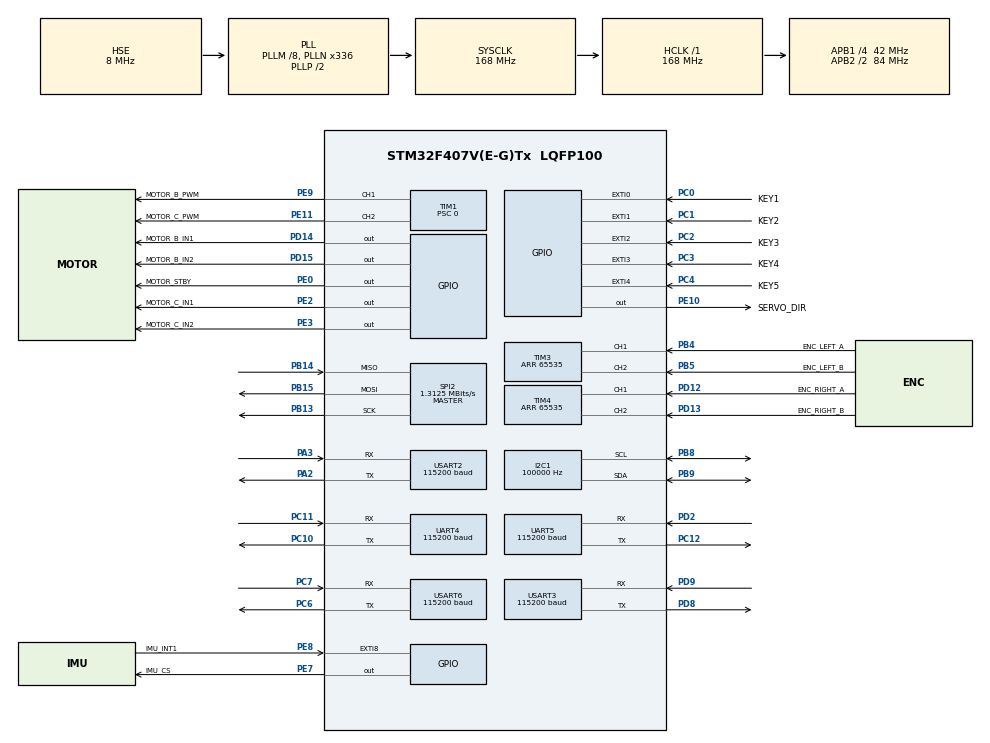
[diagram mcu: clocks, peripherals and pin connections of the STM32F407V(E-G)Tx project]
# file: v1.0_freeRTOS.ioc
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Dma.Request0=UART5_RX
Dma.Request1=UART5_TX
Dma.Request2=USART3_RX
Dma.Request3=USART2_RX
Dma.Request4=USART2_TX
Dma.Request5=SPI2_RX
Dma.Request6=SPI2_TX
Dma.Request7=USART6_RX
Dma.Request8=USART6_TX
Dma.Request9=UART4_RX
Dma.SPI2_RX.5.Direction=DMA_PERIPH_TO_MEMORY
Dma.SPI2_RX.5.FIFOMode=DMA_FIFOMODE_DISABLE
Dma.SPI2_RX.5.Instance=DMA1_Stream3
Dma.SPI2_RX.5.MemDataAlignment=DMA_MDATAALIGN_BYTE
Dma.SPI2_RX.5.MemInc=DMA_MINC_ENABLE
Dma.SPI2_RX.5.Mode=DMA_NORMAL
Dma.SPI2_RX.5.PeriphDataAlignment=DMA_PDATAALIGN_BYTE
Dma.SPI2_RX.5.PeriphInc=DMA_PINC_DISABLE
Dma.SPI2_RX.5.Priority=DMA_PRIORITY_HIGH
Dma.SPI2_TX.6.Direction=DMA_MEMORY_TO_PERIPH
Dma.SPI2_TX.6.FIFOMode=DMA_FIFOMODE_DISABLE
Dma.SPI2_TX.6.Instance=DMA1_Stream4
Dma.SPI2_TX.6.MemDataAlignment=DMA_MDATAALIGN_BYTE
Dma.SPI2_TX.6.MemInc=DMA_MINC_ENABLE
Dma.SPI2_TX.6.Mode=DMA_NORMAL
Dma.SPI2_TX.6.PeriphDataAlignment=DMA_PDATAALIGN_BYTE
Dma.SPI2_TX.6.PeriphInc=DMA_PINC_DISABLE
Dma.SPI2_TX.6.Priority=DMA_PRIORITY_HIGH
Dma.UART4_RX.9.Direction=DMA_PERIPH_TO_MEMORY
Dma.UART4_RX.9.FIFOMode=DMA_FIFOMODE_DISABLE
Dma.UART4_RX.9.Instance=DMA1_Stream2
Dma.UART4_RX.9.MemDataAlignment=DMA_MDATAALIGN_BYTE
Dma.UART4_RX.9.MemInc=DMA_MINC_ENABLE
Dma.UART4_RX.9.Mode=DMA_CIRCULAR
Dma.UART4_RX.9.PeriphDataAlignment=DMA_PDATAALIGN_BYTE
Dma.UART4_RX.9.PeriphInc=DMA_PINC_DISABLE
Dma.UART4_RX.9.Priority=DMA_PRIORITY_MEDIUM
Dma.UART5_RX.0.Direction=DMA_PERIPH_TO_MEMORY
Dma.UART5_RX.0.FIFOMode=DMA_FIFOMODE_DISABLE
Dma.UART5_RX.0.Instance=DMA1_Stream0
Dma.UART5_RX.0.MemDataAlignment=DMA_MDATAALIGN_BYTE
Dma.UART5_RX.0.MemInc=DMA_MINC_ENABLE
Dma.UART5_RX.0.Mode=DMA_NORMAL
Dma.UART5_RX.0.PeriphDataAlignment=DMA_PDATAALIGN_BYTE
Dma.UART5_RX.0.PeriphInc=DMA_PINC_DISABLE
Dma.UART5_RX.0.Priority=DMA_PRIORITY_LOW
Dma.UART5_TX.1.Direction=DMA_MEMORY_TO_PERIPH
Dma.UART5_TX.1.FIFOMode=DMA_FIFOMODE_DISABLE
Dma.UART5_TX.1.Instance=DMA1_Stream7
Dma.UART5_TX.1.MemDataAlignment=DMA_MDATAALIGN_BYTE
Dma.UART5_TX.1.MemInc=DMA_MINC_ENABLE
Dma.UART5_TX.1.Mode=DMA_NORMAL
Dma.UART5_TX.1.PeriphDataAlignment=DMA_PDATAALIGN_BYTE
Dma.UART5_TX.1.PeriphInc=DMA_PINC_DISABLE
Dma.UART5_TX.1.Priority=DMA_PRIORITY_LOW
Dma.USART2_RX.3.Direction=DMA_PERIPH_TO_MEMORY
Dma.USART2_RX.3.FIFOMode=DMA_FIFOMODE_DISABLE
Dma.USART2_RX.3.Instance=DMA1_Stream5
Dma.USART2_RX.3.MemDataAlignment=DMA_MDATAALIGN_BYTE
Dma.USART2_RX.3.MemInc=DMA_MINC_ENABLE
Dma.USART2_RX.3.Mode=DMA_CIRCULAR
Dma.USART2_RX.3.PeriphDataAlignment=DMA_PDATAALIGN_BYTE
Dma.USART2_RX.3.PeriphInc=DMA_PINC_DISABLE
Dma.USART2_RX.3.Priority=DMA_PRIORITY_HIGH
Dma.USART2_TX.4.Direction=DMA_MEMORY_TO_PERIPH
Dma.USART2_TX.4.FIFOMode=DMA_FIFOMODE_DISABLE
Dma.USART2_TX.4.Instance=DMA1_Stream6
Dma.USART2_TX.4.MemDataAlignment=DMA_MDATAALIGN_BYTE
Dma.USART2_TX.4.MemInc=DMA_MINC_ENABLE
Dma.USART2_TX.4.Mode=DMA_NORMAL
Dma.USART2_TX.4.PeriphDataAlignment=DMA_PDATAALIGN_BYTE
Dma.USART2_TX.4.PeriphInc=DMA_PINC_DISABLE
Dma.USART2_TX.4.Priority=DMA_PRIORITY_MEDIUM
Dma.USART3_RX.2.Direction=DMA_PERIPH_TO_MEMORY
Dma.USART3_RX.2.FIFOMode=DMA_FIFOMODE_DISABLE
Dma.USART3_RX.2.Instance=DMA1_Stream1
Dma.USART3_RX.2.MemDataAlignment=DMA_MDATAALIGN_BYTE
Dma.USART3_RX.2.MemInc=DMA_MINC_ENABLE
Dma.USART3_RX.2.Mode=DMA_CIRCULAR
Dma.USART3_RX.2.PeriphDataAlignment=DMA_PDATAALIGN_BYTE
Dma.USART3_RX.2.PeriphInc=DMA_PINC_DISABLE
Dma.USART3_RX.2.Priority=DMA_PRIORITY_VERY_HIGH
Dma.USART6_RX.7.Direction=DMA_PERIPH_TO_MEMORY
Dma.USART6_RX.7.FIFOMode=DMA_FIFOMODE_DISABLE
Dma.USART6_RX.7.Instance=DMA2_Stream1
Dma.USART6_RX.7.MemDataAlignment=DMA_MDATAALIGN_BYTE
Dma.USART6_RX.7.MemInc=DMA_MINC_ENABLE
Dma.USART6_RX.7.Mode=DMA_CIRCULAR
Dma.USART6_RX.7.PeriphDataAlignment=DMA_PDATAALIGN_BYTE
Dma.USART6_RX.7.PeriphInc=DMA_PINC_DISABLE
Dma.USART6_RX.7.Priority=DMA_PRIORITY_HIGH
Dma.USART6_TX.8.Direction=DMA_MEMORY_TO_PERIPH
Dma.USART6_TX.8.FIFOMode=DMA_FIFOMODE_DISABLE
Dma.USART6_TX.8.Instance=DMA2_Stream6
Dma.USART6_TX.8.MemDataAlignment=DMA_MDATAALIGN_BYTE
Dma.USART6_TX.8.MemInc=DMA_MINC_ENABLE
Dma.USART6_TX.8.Mode=DMA_NORMAL
Dma.USART6_TX.8.PeriphDataAlignment=DMA_PDATAALIGN_BYTE
Dma.USART6_TX.8.PeriphInc=DMA_PINC_DISABLE
Dma.USART6_TX.8.Priority=DMA_PRIORITY_HIGH
FREERTOS.Tasks01=defaultTask,24,512,StartDefaultTask,Default,NULL,Dynamic,NULL,NULL
FREERTOS.configTOTAL_HEAP_SIZE=32768
I2C1.ClockSpeed=100000
Mcu.Family=STM32F4
Mcu.Name=STM32F407V(E-G)Tx
Mcu.Package=LQFP100
NVIC.DMA1_Stream0_IRQn=true\:5\:0\:false\:false\:true\:true\:true\:true\:true
NVIC.DMA1_Stream1_IRQn=true\:5\:0\:false\:false\:true\:true\:true\:true\:true
NVIC.DMA1_Stream2_IRQn=true\:5\:0\:false\:false\:true\:true\:true\:true\:true
NVIC.DMA1_Stream3_IRQn=true\:5\:0\:false\:false\:true\:true\:true\:true\:true
NVIC.DMA1_Stream4_IRQn=true\:5\:0\:false\:false\:true\:true\:true\:true\:true
NVIC.DMA1_Stream5_IRQn=true\:5\:0\:false\:false\:true\:true\:true\:true\:true
NVIC.DMA1_Stream6_IRQn=true\:5\:0\:false\:false\:true\:true\:true\:true\:true
NVIC.DMA1_Stream7_IRQn=true\:5\:0\:false\:false\:true\:true\:true\:true\:true
NVIC.DMA2_Stream1_IRQn=true\:5\:0\:false\:false\:true\:true\:true\:true\:true
NVIC.DMA2_Stream6_IRQn=true\:5\:0\:false\:false\:true\:true\:true\:true\:true
NVIC.EXTI0_IRQn=true\:5\:0\:false\:false\:true\:true\:true\:true\:true
NVIC.EXTI1_IRQn=true\:5\:0\:false\:false\:true\:true\:true\:true\:true
NVIC.EXTI2_IRQn=true\:5\:0\:false\:false\:true\:true\:true\:true\:true
NVIC.EXTI3_IRQn=true\:5\:0\:false\:false\:true\:true\:true\:true\:true
NVIC.EXTI4_IRQn=true\:5\:0\:false\:false\:true\:true\:true\:true\:true
NVIC.EXTI9_5_IRQn=true\:5\:0\:false\:false\:true\:true\:true\:true\:true
NVIC.PriorityGroup=NVIC_PRIORITYGROUP_4
NVIC.TIM6_DAC_IRQn=true\:15\:0\:false\:false\:true\:false\:false\:true\:true
NVIC.TimeBase=TIM6_DAC_IRQn
NVIC.TimeBaseIP=TIM6
NVIC.UART4_IRQn=true\:5\:0\:false\:false\:true\:true\:true\:true\:true
NVIC.UART5_IRQn=true\:5\:0\:false\:false\:true\:true\:true\:true\:true
NVIC.USART2_IRQn=true\:5\:0\:false\:false\:true\:true\:true\:true\:true
NVIC.USART3_IRQn=true\:5\:0\:false\:false\:true\:true\:true\:true\:true
NVIC.USART6_IRQn=true\:5\:0\:false\:false\:true\:true\:true\:true\:true
PA1.GPIO_Label=TB6612_ADC
PA1.Signal=ADCx_IN1
PA13.Mode=Serial_Wire
PA13.Signal=SYS_JTMS-SWDIO
PA14.Mode=Serial_Wire
PA14.Signal=SYS_JTCK-SWCLK
PA2.Mode=Asynchronous
PA2.Signal=USART2_TX
PA3.Mode=Asynchronous
PA3.Signal=USART2_RX
PB13.Mode=Full_Duplex_Master
PB13.Signal=SPI2_SCK
PB14.Mode=Full_Duplex_Master
PB14.Signal=SPI2_MISO
PB15.Mode=Full_Duplex_Master
PB15.Signal=SPI2_MOSI
PB4.GPIO_Label=ENC_LEFT_A
PB4.GPIO_PuPd=GPIO_PULLUP
PB4.Signal=S_TIM3_CH1
PB5.GPIO_Label=ENC_LEFT_B
PB5.GPIO_PuPd=GPIO_PULLUP
PB5.Signal=S_TIM3_CH2
PB8.Mode=I2C
PB8.Signal=I2C1_SCL
PB9.Mode=I2C
PB9.Signal=I2C1_SDA
PC0.GPIO_Label=KEY1
PC0.GPIO_ModeDefaultEXTI=GPIO_MODE_IT_FALLING
PC0.GPIO_PuPd=GPIO_PULLUP
PC0.Signal=GPXTI0
PC1.GPIO_Label=KEY2
PC1.GPIO_ModeDefaultEXTI=GPIO_MODE_IT_FALLING
PC1.GPIO_PuPd=GPIO_PULLUP
PC1.Signal=GPXTI1
PC10.Mode=Asynchronous
PC10.Signal=UART4_TX
PC11.Mode=Asynchronous
PC11.Signal=UART4_RX
PC12.Mode=Asynchronous
PC12.Signal=UART5_TX
PC2.GPIO_Label=KEY3
PC2.GPIO_ModeDefaultEXTI=GPIO_MODE_IT_FALLING
PC2.GPIO_PuPd=GPIO_PULLUP
PC2.Signal=GPXTI2
PC3.GPIO_Label=KEY4
PC3.GPIO_ModeDefaultEXTI=GPIO_MODE_IT_FALLING
PC3.GPIO_PuPd=GPIO_PULLUP
PC3.Signal=GPXTI3
PC4.GPIO_Label=KEY5
PC4.GPIO_ModeDefaultEXTI=GPIO_MODE_IT_FALLING
PC4.GPIO_PuPd=GPIO_PULLUP
PC4.Signal=GPXTI4
PC6.Mode=Asynchronous
PC6.Signal=USART6_TX
PC7.Mode=Asynchronous
PC7.Signal=USART6_RX
PD12.GPIO_Label=ENC_RIGHT_A
PD12.GPIO_PuPd=GPIO_PULLUP
PD12.Signal=S_TIM4_CH1
PD13.GPIO_Label=ENC_RIGHT_B
PD13.GPIO_PuPd=GPIO_PULLUP
PD13.Signal=S_TIM4_CH2
PD14.GPIO_Label=MOTOR_B_IN1
PD14.GPIO_PuPd=GPIO_NOPULL
PD14.GPIO_Speed=GPIO_SPEED_FREQ_LOW
PD14.PinState=GPIO_PIN_RESET
PD14.Signal=GPIO_Output
PD15.GPIO_Label=MOTOR_B_IN2
PD15.GPIO_PuPd=GPIO_NOPULL
PD15.GPIO_Speed=GPIO_SPEED_FREQ_LOW
PD15.PinState=GPIO_PIN_RESET
PD15.Signal=GPIO_Output
PD2.Mode=Asynchronous
PD2.Signal=UART5_RX
PD8.Mode=Asynchronous
PD8.Signal=USART3_TX
PD9.Mode=Asynchronous
PD9.Signal=USART3_RX
PE0.GPIO_Label=MOTOR_STBY
PE0.GPIO_PuPd=GPIO_PULLDOWN
PE0.GPIO_Speed=GPIO_SPEED_FREQ_LOW
PE0.PinState=GPIO_PIN_RESET
PE0.Signal=GPIO_Output
PE10.GPIO_Label=SERVO_DIR
PE10.GPIO_PuPd=GPIO_NOPULL
PE10.GPIO_Speed=GPIO_SPEED_FREQ_LOW
PE10.PinState=GPIO_PIN_RESET
PE10.Signal=GPIO_Output
PE11.GPIO_Label=MOTOR_C_PWM
PE11.Signal=S_TIM1_CH2
PE2.GPIO_Label=MOTOR_C_IN1
PE2.GPIO_PuPd=GPIO_NOPULL
PE2.GPIO_Speed=GPIO_SPEED_FREQ_LOW
PE2.PinState=GPIO_PIN_RESET
PE2.Signal=GPIO_Output
PE3.GPIO_Label=MOTOR_C_IN2
PE3.GPIO_PuPd=GPIO_NOPULL
PE3.GPIO_Speed=GPIO_SPEED_FREQ_LOW
PE3.PinState=GPIO_PIN_RESET
PE3.Signal=GPIO_Output
PE7.GPIO_Label=IMU_CS
PE7.GPIO_PuPd=GPIO_PULLUP
PE7.GPIO_Speed=GPIO_SPEED_FREQ_HIGH
PE7.PinState=GPIO_PIN_SET
PE7.Signal=GPIO_Output
PE8.GPIO_Label=IMU_INT1
PE8.GPIO_ModeDefaultEXTI=GPIO_MODE_IT_RISING
PE8.GPIO_PuPd=GPIO_NOPULL
PE8.Signal=GPXTI8
PE9.GPIO_Label=MOTOR_B_PWM
PE9.Signal=S_TIM1_CH1
PH0-OSC_IN.Mode=HSE-External-Oscillator
PH0-OSC_IN.Signal=RCC_OSC_IN
PH1-OSC_OUT.Mode=HSE-External-Oscillator
PH1-OSC_OUT.Signal=RCC_OSC_OUT
ProjectManager.HeapSize=0x400
ProjectManager.StackSize=0x800
ProjectManager.TargetToolchain=CMake
RCC.48MHZClocksFreq_Value=48000000
RCC.AHBFreq_Value=168000000
RCC.APB1CLKDivider=RCC_HCLK_DIV4
RCC.APB1Freq_Value=42000000
RCC.APB1TimFreq_Value=84000000
RCC.APB2CLKDivider=RCC_HCLK_DIV2
RCC.APB2Freq_Value=84000000
RCC.APB2TimFreq_Value=168000000
RCC.CortexFreq_Value=168000000
RCC.HCLKFreq_Value=168000000
RCC.HSE_VALUE=8000000
RCC.HSI_VALUE=16000000
RCC.LSE_VALUE=32768
RCC.PLLM=8
RCC.PLLN=336
RCC.PLLQ=7
RCC.PLLSourceVirtual=RCC_PLLSOURCE_HSE
RCC.SYSCLKFreq_VALUE=168000000
RCC.SYSCLKSource=RCC_SYSCLKSOURCE_PLLCLK
RCC.VCOOutputFreq_Value=336000000
SH.S_TIM1_CH1.0=TIM1_CH1,PWM Generation1 CH1
SH.S_TIM1_CH2.0=TIM1_CH2,PWM Generation2 CH2
SH.S_TIM3_CH1.0=TIM3_CH1,Encoder_Interface
SH.S_TIM3_CH2.0=TIM3_CH2,Encoder_Interface
SH.S_TIM4_CH1.0=TIM4_CH1,Encoder_Interface
SH.S_TIM4_CH2.0=TIM4_CH2,Encoder_Interface
SPI2.BaudRatePrescaler=SPI_BAUDRATEPRESCALER_32
SPI2.CLKPhase=SPI_PHASE_1EDGE
SPI2.CLKPolarity=SPI_POLARITY_LOW
SPI2.CalculateBaudRate=1.3125 MBits/s
SPI2.Direction=SPI_DIRECTION_2LINES
SPI2.Mode=SPI_MODE_MASTER
SPI2.VirtualType=VM_MASTER
TIM1.AutoReloadPreload=TIM_AUTORELOAD_PRELOAD_ENABLE
TIM1.Channel-PWM\ Generation1\ CH1=TIM_CHANNEL_1
TIM1.Channel-PWM\ Generation2\ CH2=TIM_CHANNEL_2
TIM1.Period=8399
TIM1.Prescaler=0
TIM3.EncoderMode=TIM_ENCODERMODE_TI12
TIM3.IC1Filter=8
TIM3.IC2Filter=8
TIM3.Period=65535
TIM4.EncoderMode=TIM_ENCODERMODE_TI12
TIM4.IC1Filter=8
TIM4.IC2Filter=8
TIM4.Period=65535
UART4.BaudRate=115200
UART4.VirtualMode=Asynchronous
UART5.BaudRate=115200
UART5.VirtualMode=Asynchronous
USART2.BaudRate=115200
USART2.VirtualMode=VM_ASYNC
USART3.BaudRate=115200
USART3.VirtualMode=VM_ASYNC
USART6.BaudRate=115200
USART6.VirtualMode=VM_ASYNC
VP_FREERTOS_VS_CMSIS_V2.Mode=CMSIS_V2
VP_SYS_VS_tim6.Mode=TIM6
VP_TIM1_VS_ClockSourceINT.Mode=Internal
board=custom

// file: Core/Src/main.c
/* USER CODE BEGIN Header */
/**
  ******************************************************************************
  * @file           : main.c
  * @brief          : Main program body
  ******************************************************************************
  * @attention
  *
  * Copyright (c) 2026 STMicroelectronics.
  * All rights reserved.
  *
  * This software is licensed under terms that can be found in the LICENSE file
  * in the root directory of this software component.
  * If no LICENSE file comes with this software, it is provided AS-IS.
  *
  ******************************************************************************
  */
/* USER CODE END Header */
#include "main.h"
#include "cmsis_os.h"
#include "dma.h"
#include "i2c.h"
#include "spi.h"
#include "tim.h"
#include "usart.h"
#include "gpio.h"

/* USER CODE BEGIN Includes */
#include "app/uart_debug.h"
#include <stdio.h>
/* USER CODE END Includes */

void SystemClock_Config(void);
void MX_FREERTOS_Init(void);

int main(void)
{

  /* MCU Configuration--------------------------------------------------------*/

  /* Reset of all peripherals, Initializes the Flash interface and the Systick. */
  HAL_Init();

  /* Configure the system clock */
  SystemClock_Config();

  /* Initialize all configured peripherals */
  MX_GPIO_Init();
  MX_DMA_Init();
  MX_I2C1_Init();
  MX_SPI2_Init();
  MX_TIM1_Init();
  MX_TIM3_Init();
  MX_TIM4_Init();
  MX_UART4_Init();
  MX_UART5_Init();
  MX_USART2_UART_Init();
  MX_USART3_UART_Init();
  MX_USART6_UART_Init();
  /* USER CODE BEGIN 2 */
  UartDebug_Init();
  printf("[UART5] Debug UART initialized @115200, PC12(TX) PD2(RX)\r\n");
  printf("[SYSTEM] Entering FreeRTOS scheduler...\r\n");
  /* USER CODE END 2 */

  /* Init scheduler */
  osKernelInitialize();  /* Call init function for freertos objects (in cmsis_os2.c) */
  MX_FREERTOS_Init();

  /* Start scheduler */
  osKernelStart();

  /* We should never get here as control is now taken by the scheduler */

  /* Infinite loop */
  while (1)
  {

  }
}

void SystemClock_Config(void)
{
  RCC_OscInitTypeDef RCC_OscInitStruct = {0};
  RCC_ClkInitTypeDef RCC_ClkInitStruct = {0};

  /** Configure the main internal regulator output voltage
  */
  __HAL_RCC_PWR_CLK_ENABLE();
  __HAL_PWR_VOLTAGESCALING_CONFIG(PWR_REGULATOR_VOLTAGE_SCALE1);

  /** Initializes the RCC Oscillators according to the specified parameters
  * in the RCC_OscInitTypeDef structure.
  */
  RCC_OscInitStruct.OscillatorType = RCC_OSCILLATORTYPE_HSE;
  RCC_OscInitStruct.HSEState = RCC_HSE_ON;
  RCC_OscInitStruct.PLL.PLLState = RCC_PLL_ON;
  RCC_OscInitStruct.PLL.PLLSource = RCC_PLLSOURCE_HSE;
  RCC_OscInitStruct.PLL.PLLM = 8;
  RCC_OscInitStruct.PLL.PLLN = 336;
  RCC_OscInitStruct.PLL.PLLP = RCC_PLLP_DIV2;
  RCC_OscInitStruct.PLL.PLLQ = 7;
  if (HAL_RCC_OscConfig(&RCC_OscInitStruct) != HAL_OK)
  {
    Error_Handler();
  }

  /** Initializes the CPU, AHB and APB buses clocks
  */
  RCC_ClkInitStruct.ClockType = RCC_CLOCKTYPE_HCLK|RCC_CLOCKTYPE_SYSCLK
                              |RCC_CLOCKTYPE_PCLK1|RCC_CLOCKTYPE_PCLK2;
  RCC_ClkInitStruct.SYSCLKSource = RCC_SYSCLKSOURCE_PLLCLK;
  RCC_ClkInitStruct.AHBCLKDivider = RCC_SYSCLK_DIV1;
  RCC_ClkInitStruct.APB1CLKDivider = RCC_HCLK_DIV4;
  RCC_ClkInitStruct.APB2CLKDivider = RCC_HCLK_DIV2;

  if (HAL_RCC_ClockConfig(&RCC_ClkInitStruct, FLASH_LATENCY_5) != HAL_OK)
  {
    Error_Handler();
  }
}

void HAL_TIM_PeriodElapsedCallback(TIM_HandleTypeDef *htim)
{
  if (htim->Instance == TIM6)
  {
    HAL_IncTick();
  }
}

void Error_Handler(void)
{
  __disable_irq();
  while (1)
  {
  }
}

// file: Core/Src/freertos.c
/* USER CODE BEGIN Header */
/**
  ******************************************************************************
  * File Name          : freertos.c
  * Description        : Code for freertos applications
  ******************************************************************************
  * @attention
  *
  * Copyright (c) 2026 STMicroelectronics.
  * All rights reserved.
  *
  * This software is licensed under terms that can be found in the LICENSE file
  * in the root directory of this software component.
  * If no LICENSE file comes with this software, it is provided AS-IS.
  *
  ******************************************************************************
  */
/* USER CODE END Header */

#include "FreeRTOS.h"
#include "task.h"
#include "main.h"
#include "cmsis_os.h"

/* USER CODE BEGIN Includes */
#include "track_control_app.h"
#include "usart.h"
#include "ir_calibration.h"
#include "ir_uart_sensor.h"
#include "motor.h"
#include "encoder.h"
#include "config.h"
#include "platform_time.h"
#include "motor_static_friction_test.h"
#include <stdio.h>
/* USER CODE END Includes */

/* USER CODE BEGIN PD */

/* ============================================================================
 * 测试模式选择开关
 * ============================================================================
 *
 * 取消注释以下其中一个宏来选择运行模式：
 *
 * 1. TEST_MODE_IR_CALIBRATION        - IR传感器校准模式
 *    功能：白平衡校准 → 黑线阈值校准 → 实时监控验证
 *    适用场景：首次测试、光照变化后、更换传感器/赛道
 *    操作步骤：见下方详细说明
 *
 * 2. TEST_MODE_TRACK_CONTROL         - 完整循迹控制模式（Pure Pursuit）
 *    功能：EKF状态估计 + 轨迹规划 + Pure Pursuit循迹
 *    前提条件：IR传感器已校准、PID参数已调优
 *
 * 3. TEST_MODE_PLAYGROUND_TRACK      - 操场型循迹（第2/4题比赛模式）
 *    功能：分段自适应循迹，任务2（绕圈）或任务4（A→B直道）
 *    前提条件：IR传感器已校准
 *
 * 4. TEST_MODE_STATIC_FRICTION       - 静摩擦参数标定模式
 *    功能：通过串口手动发送PWM值，标定FF_K_STATIC参数
 *    适用场景：标定前馈控制的静摩擦补偿参数
 *
 * 注意：同时只能定义一个测试模式
 * ============================================================================ */

// #define TEST_MODE_IR_CALIBRATION        /* ← IR校准模式 */
// #define TEST_MODE_TRACK_CONTROL         /* ← Pure Pursuit循迹模式 */
// #define TEST_MODE_PLAYGROUND_TRACK      /* ← 操场型循迹（第2/4题） */
#define TEST_MODE_STATIC_FRICTION          /* ← 当前激活：静摩擦标定 */

#define TARGET_LAPS  3U   /* 比赛圈数，可按需修改 (1-5) */
/* USER CODE END PD */

/* Definitions for defaultTask */
osThreadId_t defaultTaskHandle;
const osThreadAttr_t defaultTask_attributes = {
  .name = "defaultTask",
  .stack_size = 768 * 4,  /* Increased from 512*4 (2048) to 768*4 (3072) bytes for EKF safety */
  .priority = (osPriority_t) osPriorityNormal,
};

void StartDefaultTask(void *argument);

void MX_FREERTOS_Init(void); /* (MISRA C 2004 rule 8.1) */

void MX_FREERTOS_Init(void) {

  /* Create the thread(s) */
  /* creation of defaultTask */
  defaultTaskHandle = osThreadNew(StartDefaultTask, NULL, &defaultTask_attributes);

}

/* USER CODE BEGIN Header_StartDefaultTask */
/**
  * @brief  Function implementing the defaultTask thread.
  * @param  argument: Not used
  * @retval None
  *
  * @note   测试模式说明：
  *         - TEST_MODE_IR_CALIBRATION: IR传感器校准（不驱动电机）
  *         - TEST_MODE_TRACK_CONTROL:  完整循迹控制
  */
/* USER CODE END Header_StartDefaultTask */
void StartDefaultTask(void *argument)
{
  /* USER CODE BEGIN StartDefaultTask */

#ifdef TEST_MODE_IR_CALIBRATION
  /* ========================================================================
   * IR传感器一步校准模式
   * ======================================================================== */
  printf("\r\n=== IR One-Step Calibration v1.2.2 ===\r\n");
  osDelay(100);

  /* 步骤1: 初始化必要硬件（不启动电机） */
  printf("[STEP 1/4] Init hardware...\r\n");
  osDelay(50);
  Motor_Init();
  Motor_Stop();  /* 确保电机停止 */
  Encoder_Init();
  PlatformTime_Init();

  printf("[INFO] Init IR sensor...\r\n");
  osDelay(50);
  IrUartSensor_Init();
  IrUartSensor_RequestAnalogMode();

  printf("[INFO] Warm-up 2 sec...\r\n");
  osDelay(50);
  osDelay(2000);

  /* 加载默认配置 */
  sd_config_reset_defaults();

  printf("[OK] Hardware ready\r\n");
  osDelay(100);

  /* 步骤2: 一步校准 */
  printf("\r\n[STEP 2/4] Calibration\r\n");
  osDelay(50);
  printf("Place robot: Ch3&4 on BLACK, others on WHITE\r\n");
  osDelay(50);
  printf("Layout: [0][1][2][3][4][5][6][7]\r\n");
  osDelay(50);
  printf("        W  W  W  B  B  W  W  W\r\n");
  osDelay(50);

  printf("Starting in 5 sec...\r\n");
  osDelay(1000);
  printf("4...\r\n");
  osDelay(1000);
  printf("3...\r\n");
  osDelay(1000);
  printf("2...\r\n");
  osDelay(1000);
  printf("1...\r\n");
  osDelay(1000);

  IrCalibration_OneStep();

  printf("Wait 3 sec...\r\n");
  osDelay(3000);

  /* 步骤3: 显示校准结果 */
  printf("\r\n[STEP 3/4] Results\r\n");
  osDelay(100);

  IrCalibration_PrintConfig();

  printf("Wait 3 sec...\r\n");
  osDelay(3000);

  /* 步骤4: 实时监控验证 */
  printf("\r\n[STEP 4/4] Monitoring (60 sec)\r\n");
  osDelay(50);
  printf("Move robot left/right to check lateral_error sign\r\n");
  osDelay(50);
  printf("Right -> positive, Left -> negative\r\n");
  osDelay(50);

  IrCalibration_Monitor(60000, 1000);  /* 60秒监控，1秒间隔 */

  /* 完成 */
  printf("\r\n=== CALIBRATION COMPLETE ===\r\n");
  osDelay(100);
  printf("Next: Switch to TEST_MODE_TRACK_CONTROL\r\n");
  osDelay(100);

  printf("Restarting in 10 sec...\r\n");
  osDelay(10000);

  /* 无限循环：持续监控模式 */
  printf("Continuous monitoring...\r\n");
  osDelay(100);

  for (;;) {
      IrCalibration_Monitor(30000, 1000);  /* 每30秒一轮，1秒间隔 */
      osDelay(1000);
  }

#elif defined(TEST_MODE_TRACK_CONTROL)
  /* ========================================================================
   * 完整循迹控制模式
   * ======================================================================== */
  printf("\r\n");
  printf("╔════════════════════════════════════════════════════════════════╗\r\n");
  printf("║       Track Control Mode - STM32 Track Robot v1.2.1           ║\r\n");
  printf("╚════════════════════════════════════════════════════════════════╝\r\n");
  printf("\r\n");

  /* 使用操场路径 (Track Path) 而不是方形路径 (Square Path) */
  if (!TrackControlApp_Init(TARGET_LAPS)) {
      printf("[FATAL] TrackControlApp_Init failed — motors halted\r\n");
      for (;;) { osDelay(1000); }
  }

  /* Defensive: TrackControlApp_Init issues multiple printf calls after IR init;
   * HAL_UART_Transmit (UART5/printf) can momentarily clear RXNEIE on USART2.
   * Re-arm the interrupt now that all init is complete. */
  SET_BIT(huart2.Instance->CR1, USART_CR1_RXNEIE);

  printf("[TrackControlApp] Running — target laps: %u\r\n", (unsigned)TARGET_LAPS);

#if (INCLUDE_uxTaskGetStackHighWaterMark == 1)
  /* Report initial stack watermark for monitoring */
  UBaseType_t stack_watermark = uxTaskGetStackHighWaterMark(NULL);
  printf("[RTOS] defaultTask stack size: 3072 bytes, high-water mark: %u words (%u bytes free)\r\n",
         (unsigned)stack_watermark, (unsigned)(stack_watermark * 4));
#endif

  /* 500 Hz control loop (2 ms tick, assuming 1 kHz FreeRTOS tick rate) */
  uint32_t loop_counter = 0;
  for (;;)
  {
      TrackControlApp_RunFastCycle();
      osDelay(2);

#if (INCLUDE_uxTaskGetStackHighWaterMark == 1)
      /* Report stack usage every 10 seconds (5000 loops at 500Hz) */
      if (++loop_counter >= 5000U) {
          loop_counter = 0;
          stack_watermark = uxTaskGetStackHighWaterMark(NULL);
          printf("[RTOS] Stack high-water mark: %u words (%u bytes free, %u%% used)\r\n",
                 (unsigned)stack_watermark,
                 (unsigned)(stack_watermark * 4),
                 (unsigned)(100 - (stack_watermark * 400 / 3072)));
      }
#endif
  }

#elif defined(TEST_MODE_PLAYGROUND_TRACK)
  /* ========================================================================
   * 操场型循迹模式（第2/4题比赛）
   * ======================================================================== */
  #include "playground_track.h"

  printf("\r\n");
  printf("╔════════════════════════════════════════════════════════════════╗\r\n");
  printf("║     Playground Track Mode - STM32 Track Robot v1.4.0          ║\r\n");
  printf("╚════════════════════════════════════════════════════════════════╝\r\n");
  printf("\r\n");

  /* Initialize playground track control
   * Change PLAYGROUND_TASK_LAP to PLAYGROUND_TASK_AB_STRAIGHT for Task 4 */
  if (!PlaygroundTrack_Init(PLAYGROUND_TASK_LAP)) {
      printf("[FATAL] PlaygroundTrack_Init failed — motors halted\r\n");
      for (;;) { osDelay(1000); }
  }

  /* Re-arm USART2 RX interrupt after all printf calls */
  SET_BIT(huart2.Instance->CR1, USART_CR1_RXNEIE);

  printf("[PlaygroundTrack] Running Task 2 (Full Lap) mode\r\n");
  printf("[PlaygroundTrack] To switch to Task 4: change to PLAYGROUND_TASK_AB_STRAIGHT\r\n");

#if (INCLUDE_uxTaskGetStackHighWaterMark == 1)
  UBaseType_t stack_watermark = uxTaskGetStackHighWaterMark(NULL);
  printf("[RTOS] Stack size: 3072 bytes, watermark: %u words (%u bytes free)\r\n",
         (unsigned)stack_watermark, (unsigned)(stack_watermark * 4));
#endif

  /* 500 Hz control loop (2 ms tick) */
  uint32_t loop_counter = 0;
  for (;;)
  {
      PlaygroundTrack_RunFastCycle();
      osDelay(2);

#if (INCLUDE_uxTaskGetStackHighWaterMark == 1)
      /* Report stack usage every 10 seconds (5000 loops at 500Hz) */
      if (++loop_counter >= 5000U) {
          loop_counter = 0;
          stack_watermark = uxTaskGetStackHighWaterMark(NULL);
          printf("[RTOS] Stack watermark: %u words (%u bytes free, %u%% used)\r\n",
                 (unsigned)stack_watermark,
                 (unsigned)(stack_watermark * 4),
                 (unsigned)(100 - (stack_watermark * 400 / 3072)));
      }
#endif

      /* Check for task completion */
      if (PlaygroundTrack_IsComplete()) {
          printf("[PlaygroundTrack] Task complete! Distance: %.3f m\r\n",
                 PlaygroundTrack_GetDistance());
          for (;;) { osDelay(1000); }
      }
  }

#elif defined(TEST_MODE_STATIC_FRICTION)
  /* ========================================================================
   * 静摩擦补偿参数标定模式
   * ======================================================================== */
  printf("\r\n");
  printf("╔════════════════════════════════════════════════════════════════╗\r\n");
  printf("║   Static Friction Calibration - FF_K_STATIC Test Mode         ║\r\n");
  printf("╚════════════════════════════════════════════════════════════════╝\r\n");
  printf("\r\n");

  /* 初始化硬件 */
  printf("[Init] Initializing hardware...\r\n");
  Motor_Init();
  Encoder_Init();
  printf("[OK] Hardware ready\r\n");
  printf("\r\n");

  /* 进入交互式测试模式（永不返回） */
  Motor_StaticFriction_InteractiveTest();

#else
  /* ========================================================================
   * 错误：未定义测试模式
   * ======================================================================== */
  #error "Please define one of: TEST_MODE_IR_CALIBRATION, TEST_MODE_TRACK_CONTROL, TEST_MODE_PLAYGROUND_TRACK, or TEST_MODE_STATIC_FRICTION in freertos.c"
#endif

  /* USER CODE END StartDefaultTask */
}
